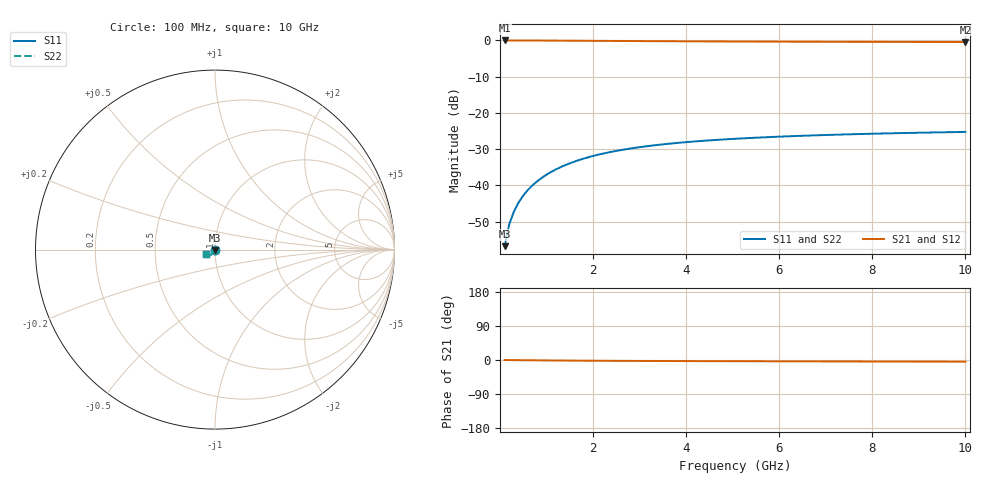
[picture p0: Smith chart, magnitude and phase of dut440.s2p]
! Touchstone file exported from HFSS 2024.1.0
!  File:  C:/UserFiles/LocalFiles/RDL_TSV_Batchsim/temp_TSV1_440_1779695190.aedt
!  Generated:  03:51:29 PM May 25, 2026
!  Design:  TSV1
!  Project:  temp_TSV1_440_1779695190
!  Setup:  Setup1
!  Solution:  Sweep
! Variables:
!  dtsv = 13.85um
!  hbump = 3um
!  htsv = 64.75um
!  lrdl = 252.1521522um
!  p = 40
!  p1 = 43.38um
!  t = 500um
!  trdl = 3um
!  wrdl = 24.89489489um
# GHz S MA R 50.000000
! Terminal data exported
! Port[1] = TSV22_T1
! Port[2] = TSV22_T2
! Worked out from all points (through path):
!   100 points, 100 MHz to 10 GHz, reference 50 ohm
!   highest |S21| = 0.00 dB at 100 MHz (marker M1); lowest = -0.4 dB at 10 GHz (marker M2)
!   lowest |S11| = -56.8 dB at 100 MHz (marker M3), VSWR 1.00, Z = 50 - j0.145 ohm
!   |S11| at or under -10 dB: start of sweep to end of sweep
!   |S22| runs from -56.8 to -25.2 dB; largest |S21 - S12| = 1.5e-15
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0.1  0.00145 -88.4  0.9999 -0.1  0.9999 -0.1  0.00145 -88.4
! Gamma 0 0 0 0
! Port Impedance 50 0 50 0
0.2  0.00291 -91.6  0.9998 -0.2  0.9998 -0.2  0.00291 -91.6
0.3  0.004363 -93.6  0.9996 -0.3  0.9996 -0.3  0.004363 -93.6
0.4  0.005805 -95.4  0.9993 -0.5  0.9993 -0.5  0.005805 -95.4
0.5  0.007231 -97.0  0.9989 -0.6  0.9989 -0.6  0.007231 -97.0
0.6  0.008641 -98.5  0.9985 -0.7  0.9985 -0.7  0.008641 -98.5
0.7  0.01003 -100.1  0.998 -0.8  0.998 -0.8  0.01003 -100.1
0.8  0.0114 -101.6  0.9975 -0.9  0.9975 -0.9  0.0114 -101.6
0.9  0.01274 -103.0  0.9969 -1.0  0.9969 -1.0  0.01274 -103.0
1.1  0.01534 -105.8  0.9956 -1.2  0.9956 -1.2  0.01534 -105.8
1.4  0.01901 -109.8  0.9933 -1.5  0.9933 -1.5  0.01901 -109.8
1.6  0.02129 -112.3  0.9917 -1.6  0.9917 -1.6  0.02129 -112.3
1.8  0.02343 -114.7  0.99 -1.8  0.99 -1.8  0.02343 -114.7
2.1  0.0264 -118.0  0.9874 -2.0  0.9874 -2.0  0.0264 -118.0
2.5  0.02992 -122.0  0.9841 -2.2  0.9841 -2.2  0.02992 -122.0
2.9  0.03297 -125.5  0.9808 -2.4  0.9808 -2.4  0.03297 -125.5
3.4  0.03624 -129.4  0.9771 -2.6  0.9771 -2.6  0.03624 -129.4
4.2  0.04046 -134.5  0.9718 -2.9  0.9718 -2.9  0.04046 -134.5
5.1  0.04414 -139.0  0.9668 -3.2  0.9668 -3.2  0.04414 -139.0
6.7  0.04887 -145.0  0.9601 -3.6  0.9601 -3.6  0.04887 -145.0
8.4  0.05233 -149.5  0.955 -4.0  0.955 -4.0  0.05233 -149.5
10  0.05468 -152.8  0.9515 -4.4  0.9515 -4.4  0.05468 -152.8
